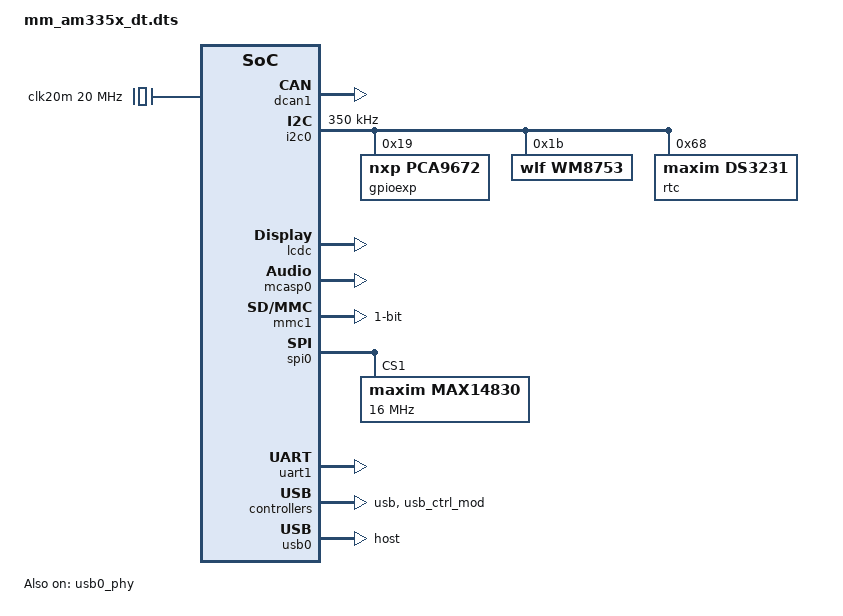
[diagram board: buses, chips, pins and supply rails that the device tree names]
#include "am335x-phytec-phyflex-som.dts"

/ {
	chosen {
		/delete-node/ environment-nand;
	};

	clocks {
		clk20m: clk20m {
			compatible = "fixed-clock";
			clock-frequency = <20000000>;
			#clock-cells = <0>;
		};
	};
};

/delete-node/ &vcc3v3;

&dcan1 {
	pinctrl-names = "default";
	pinctrl-0 = <&dcan1_pins>;
	status = "okay";
};

&flash {
	/delete-node/ partition@c0000;
	/delete-node/ partition@e0000;
};

&i2c0 {
	/* WM8753 SCLK Low pulse-width MIN 1.3us */
	clock-frequency = <350000>;

	gpioexp: gpio@19 {
		compatible = "nxp,pca9672";
		reg = <0x19>;
		gpio-controller;
		#gpio-cells = <2>;
	};

	wm8753: wm8753@1b {
		#sound-dai-cells = <0>;
		compatible = "wlf,wm8753";
		reg = <0x1b>;
	};

	rtc@68 {
		compatible = "maxim,ds3231";
		reg = <0x68>;
		#clock-cells = <1>;
	};
};

&lcdc {
	pinctrl-names = "default";
	pinctrl-0 = <&lcdc_pins>;
	status = "okay";
/* TODO: */
/* blue-and-red-wiring = "crossed"; */
	port {
		/* TODO: */
	};
};

&mcasp0 {
	pinctrl-names = "default";
	pinctrl-0 = <&mcasp0_pins>;
	op-mode = <0>;
	status = "okay";
/* TODO: */
};

&mmc1 {
	bus-width = <1>;
};

&nand {
	/delete-node/ partition@0;
	/delete-node/ partition@20000;
	/delete-node/ partition@40000;
	/delete-node/ partition@60000;
	/delete-node/ partition@80000;
	/delete-node/ partition@100000;
	/delete-node/ partition@180000;
	/delete-node/ partition@1C0000;
};

&spi0 {
/* TODO: */
	ti,spi-num-cs = <2>;
	cs-gpios = <0>, <0>;

	max14830: max14830@1 {
		compatible = "maxim,max14830";
		reg = <1>;
		spi-max-frequency = <16000000>;
		clocks = <&clk20m>;
		clock-names = "osc";
/*
		interrupt-parent = <&gpio3>;
		interrupts = <7 IRQ_TYPE_EDGE_FALLING>;
*/
		gpio-controller;
		#gpio-cells = <2>;
	};
};

&uart1 {
	pinctrl-names = "default";
	pinctrl-0 = <&uart1_pins>;
	status = "okay";
};

&usb {
	pinctrl-names = "default";
	pinctrl-0 = <&usb0_pins>;
	status = "okay";
};

&usb_ctrl_mod {
	status = "okay";
};

&usb0_phy {
	status = "okay";
};

&usb0 {
	dr_mode = "host";
	status = "okay";
};

&cppi41dma {
	status = "okay";
};

&am33xx_pinmux {
	dcan1_pins: pinmux_dcan1_pins {
		pinctrl-single,pins = <
			0x168 (PIN_OUTPUT | MUX_MODE2)		/* dcan1_tx_mux0 */
			0x16c (PIN_INPUT | MUX_MODE2)		/* dcan1_rx_mux0 */
		>;
	};

	lcdc_pins: pinmux_lcdc_pins {
		pinctrl-single,pins = <
			0x0a0 (PIN_OUTPUT | MUX_MODE0)		/* lcd_data0 */
			0x0a4 (PIN_OUTPUT | MUX_MODE0)		/* lcd_data1 */
			0x0a8 (PIN_OUTPUT | MUX_MODE0)		/* lcd_data2 */
			0x0ac (PIN_OUTPUT | MUX_MODE0)		/* lcd_data3 */
			0x0b0 (PIN_OUTPUT | MUX_MODE0)		/* lcd_data4 */
			0x0b4 (PIN_OUTPUT | MUX_MODE0)		/* lcd_data5 */
			0x0b8 (PIN_OUTPUT | MUX_MODE0)		/* lcd_data6 */
			0x0bc (PIN_OUTPUT | MUX_MODE0)		/* lcd_data7 */
			0x0c0 (PIN_OUTPUT | MUX_MODE0)		/* lcd_data8 */
			0x0c4 (PIN_OUTPUT | MUX_MODE0)		/* lcd_data9 */
			0x0c8 (PIN_OUTPUT | MUX_MODE0)		/* lcd_data10 */
			0x0cc (PIN_OUTPUT | MUX_MODE0)		/* lcd_data11 */
			0x0d0 (PIN_OUTPUT | MUX_MODE0)		/* lcd_data12 */
			0x0d4 (PIN_OUTPUT | MUX_MODE0)		/* lcd_data13 */
			0x0d8 (PIN_OUTPUT | MUX_MODE0)		/* lcd_data14 */
			0x0dc (PIN_OUTPUT | MUX_MODE0)		/* lcd_data15 */
			0x03c (PIN_OUTPUT_PULLDOWN | MUX_MODE1)	/* lcd_data16 */
			0x038 (PIN_OUTPUT_PULLDOWN | MUX_MODE1)	/* lcd_data17 */
			0x034 (PIN_OUTPUT_PULLDOWN | MUX_MODE1)	/* lcd_data18 */
			0x030 (PIN_OUTPUT_PULLDOWN | MUX_MODE1)	/* lcd_data19 */
			0x02c (PIN_OUTPUT_PULLDOWN | MUX_MODE1)	/* lcd_data20 */
			0x028 (PIN_OUTPUT_PULLDOWN | MUX_MODE1)	/* lcd_data21 */
			0x024 (PIN_OUTPUT_PULLDOWN | MUX_MODE1)	/* lcd_data22 */
			0x020 (PIN_OUTPUT_PULLDOWN | MUX_MODE1)	/* lcd_data23 */
			0x0e0 (PIN_OUTPUT | MUX_MODE0)		/* lcd_vsync */
			0x0e4 (PIN_OUTPUT | MUX_MODE0)		/* lcd_hsync */
			0x0e8 (PIN_OUTPUT | MUX_MODE0)		/* lcd_pclk */
/* FIXME */
			0x0ec (PIN_OUTPUT | MUX_MODE0)		/* lcd_ac_bias_en */
		>;
	};

	mcasp0_pins: pinmux_mcasp0_pins {
		pinctrl-single,pins = <
			0x1ac (PIN_INPUT_PULLUP | MUX_MODE0)	/* mcasp0_ahclkx */
			0x194 (PIN_INPUT_PULLUP | MUX_MODE0)	/* mcasp0_fsx */
			0x198 (PIN_INPUT_PULLUP | MUX_MODE0)	/* mcasp0_axr0 */
		>;
	};

	mmc1_pins: pinmux_mmc1_pins {
		pinctrl-single,pins = <
			0x0fc (PIN_INPUT_PULLUP | MUX_MODE0)	/* mmc0_dat0 */
			0x100 (PIN_INPUT_PULLUP | MUX_MODE0)	/* mmc0_clk */
			0x104 (PIN_INPUT_PULLUP | MUX_MODE0)	/* mmc0_cmd */
		>;
	};

	spi0_pins: pinmux_spi0_pins {
		pinctrl-single,pins = <
			0x150 (PIN_INPUT_PULLUP | MUX_MODE0)	/* spi0_clk */
			0x154 (PIN_INPUT_PULLUP | MUX_MODE0)	/* spi0_d0 */
			0x158 (PIN_INPUT_PULLUP | MUX_MODE0)	/* spi0_d1 */
			0x15c (PIN_OUTPUT_PULLUP | MUX_MODE0)	/* spi0_cs0 */
			0x160 (PIN_OUTPUT_PULLUP | MUX_MODE0)	/* spi0_cs1 */
		>;
	};

	uart0_pins: pinmux_uart0_pins {
		pinctrl-single,pins = <
			0x170 (PIN_INPUT_PULLUP | MUX_MODE0)	/* uart0_rxd */
			0x174 (PIN_OUTPUT_PULLUP | MUX_MODE0)	/* uart0_txd */
		>;
	};

	uart1_pins: pinmux_uart1_pins {
		pinctrl-single,pins = <
			0x180 (PIN_INPUT_PULLUP | MUX_MODE0)	/* uart1_rxd */
			0x184 (PIN_OUTPUT_PULLUP | MUX_MODE0)	/* uart1_txd */
		>;
	};

	usb0_pins: pinmux_usb0_pins {
		pinctrl-single,pins = <
			0x208 (PIN_INPUT | MUX_MODE0)		/* usb0_dm */
			0x20c (PIN_INPUT | MUX_MODE0)		/* usb0_dp */
			0x214 (PIN_INPUT | MUX_MODE0)		/* usb0_id */
			0x218 (PIN_INPUT | MUX_MODE0)		/* usb0_vbus */
			0x21c (PIN_OUTPUT_PULLDOWN | MUX_MODE0)	/* usb0_drvvbus */
		>;
	};
};
